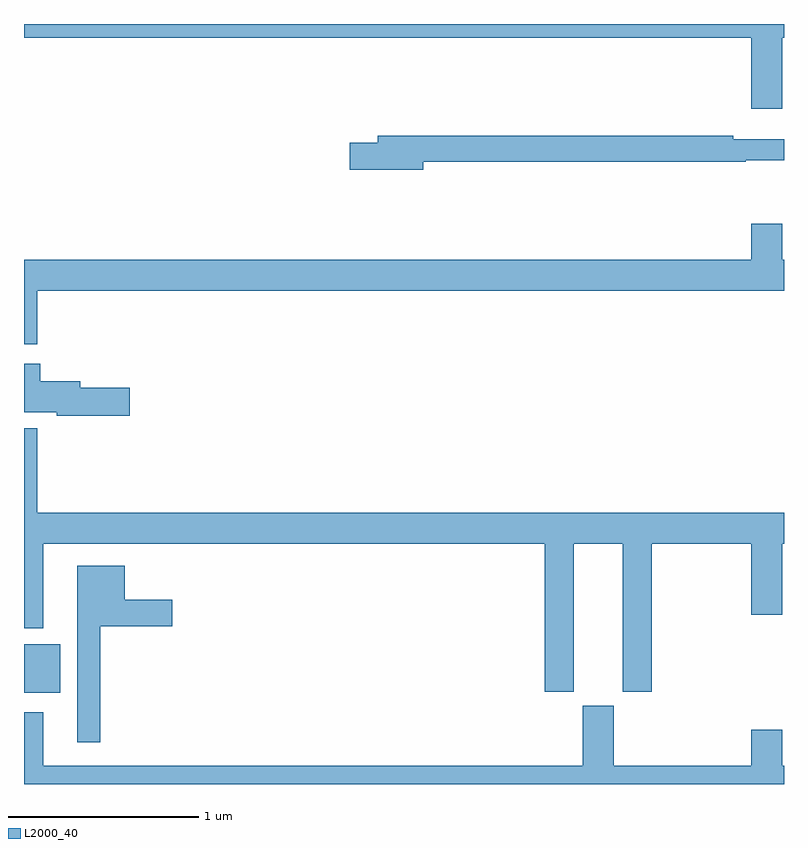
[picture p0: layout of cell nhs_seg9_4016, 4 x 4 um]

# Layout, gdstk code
import gdstk
lib = gdstk.Library(unit=1e-6, precision=1e-09)
def R(c, l, rs):  # rectangles x0, y0, x1, y1
    for r in rs: c.add(gdstk.rectangle(r[:2], r[2:], *l))
def P(c, l, *ps):  # polygons
    for p in ps: c.add(gdstk.Polygon(p, *l))
L2000_40 = (2000, 40)

nhs_seg9_4016 = lib.new_cell('nhs_seg9_4016')
R(nhs_seg9_4016, L2000_40, [(341,1184.981,341.191,1185.235)])
P(nhs_seg9_4016, L2000_40, [(344.992,1188.428),(345,1188.428),(345,1188.5),(341,1188.5),(341,1188.428),(344.828,1188.428),(344.828,1188.054),(344.992,1188.054)],
  [(343.102,1187.776),(344.798,1187.776),(344.798,1187.784),(345,1187.784),(345,1187.893),(344.732,1187.893),(344.732,1187.912),(342.863,1187.912),(342.863,1187.876),(342.714,1187.876),(342.714,1187.734),(343.102,1187.734)],
  [(341.071,1187.096),(345,1187.096),(345,1187.26),(344.992,1187.26),(344.992,1187.449),(344.828,1187.449),(344.828,1187.26),(341,1187.26),(341,1186.815),(341.071,1186.815)],
  [(341.557,1186.586),(341.296,1186.586),(341.296,1186.621),(341.086,1186.621),(341.086,1186.711),(341,1186.711),(341,1186.457),(341.172,1186.457),(341.172,1186.439),(341.557,1186.439)],
  [(343.894,1185.764),(344.15,1185.764),(344.15,1184.985),(344.303,1184.985),(344.303,1185.764),(344.828,1185.764),(344.828,1185.39),(344.992,1185.39),(344.992,1185.764),(345,1185.764),(345,1185.928),(341.071,1185.928),(341.071,1186.372),(341,1186.372),(341,1185.32),(341.101,1185.32),(341.101,1185.764),(343.742,1185.764),(343.742,1184.985),(343.894,1184.985)],
  [(341.401,1185.329),(341.779,1185.329),(341.779,1185.471),(341.53,1185.471),(341.53,1185.649),(341.279,1185.649),(341.279,1184.721),(341.401,1184.721)],
  [(345,1184.596),(344.992,1184.596),(344.992,1184.785),(344.828,1184.785),(344.828,1184.596),(344.104,1184.596),(344.104,1184.913),(343.94,1184.913),(343.94,1184.596),(341.101,1184.596),(341.101,1184.878),(341,1184.878),(341,1184.5),(345,1184.5)])

lib.write_gds('nhs_seg9_4016.gds')
